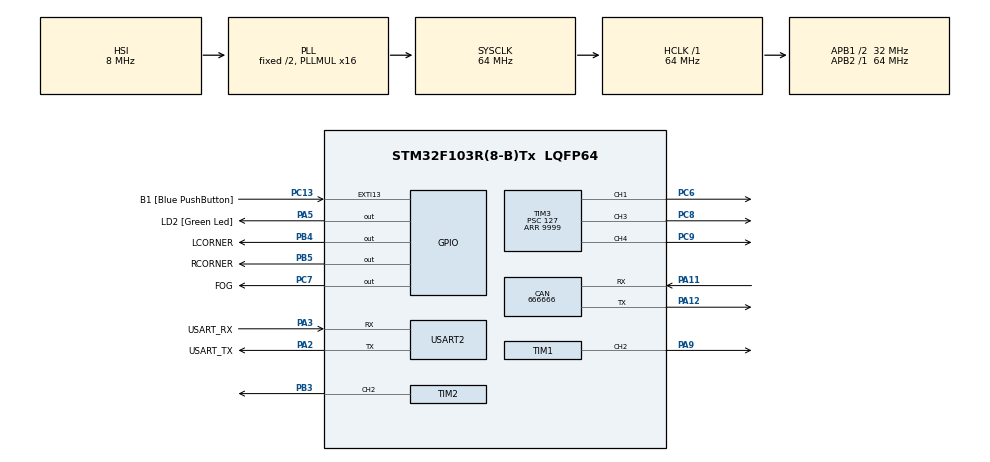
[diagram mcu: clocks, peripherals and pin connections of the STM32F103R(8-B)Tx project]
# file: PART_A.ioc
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CAN.CalculateBaudRate=666666
CAN.CalculateTimeBit=1500
CAN.CalculateTimeQuantum=500.0
Dma.Request0=TIM1_CH2
Dma.Request1=TIM2_CH2/CH4
Dma.Request2=TIM3_CH1/TRIG
Dma.TIM1_CH2.0.Direction=DMA_MEMORY_TO_PERIPH
Dma.TIM1_CH2.0.Instance=DMA1_Channel3
Dma.TIM1_CH2.0.MemDataAlignment=DMA_MDATAALIGN_HALFWORD
Dma.TIM1_CH2.0.MemInc=DMA_MINC_ENABLE
Dma.TIM1_CH2.0.Mode=DMA_NORMAL
Dma.TIM1_CH2.0.PeriphDataAlignment=DMA_PDATAALIGN_HALFWORD
Dma.TIM1_CH2.0.PeriphInc=DMA_PINC_DISABLE
Dma.TIM1_CH2.0.Priority=DMA_PRIORITY_HIGH
Dma.TIM2_CH2/CH4.1.Direction=DMA_MEMORY_TO_PERIPH
Dma.TIM2_CH2/CH4.1.Instance=DMA1_Channel7
Dma.TIM2_CH2/CH4.1.MemDataAlignment=DMA_MDATAALIGN_HALFWORD
Dma.TIM2_CH2/CH4.1.MemInc=DMA_MINC_ENABLE
Dma.TIM2_CH2/CH4.1.Mode=DMA_NORMAL
Dma.TIM2_CH2/CH4.1.PeriphDataAlignment=DMA_PDATAALIGN_HALFWORD
Dma.TIM2_CH2/CH4.1.PeriphInc=DMA_PINC_DISABLE
Dma.TIM2_CH2/CH4.1.Priority=DMA_PRIORITY_HIGH
Dma.TIM3_CH1/TRIG.2.Direction=DMA_MEMORY_TO_PERIPH
Dma.TIM3_CH1/TRIG.2.Instance=DMA1_Channel6
Dma.TIM3_CH1/TRIG.2.MemDataAlignment=DMA_MDATAALIGN_HALFWORD
Dma.TIM3_CH1/TRIG.2.MemInc=DMA_MINC_ENABLE
Dma.TIM3_CH1/TRIG.2.Mode=DMA_NORMAL
Dma.TIM3_CH1/TRIG.2.PeriphDataAlignment=DMA_PDATAALIGN_HALFWORD
Dma.TIM3_CH1/TRIG.2.PeriphInc=DMA_PINC_DISABLE
Dma.TIM3_CH1/TRIG.2.Priority=DMA_PRIORITY_HIGH
Mcu.Family=STM32F1
Mcu.Name=STM32F103R(8-B)Tx
Mcu.Package=LQFP64
NVIC.DMA1_Channel3_IRQn=true\:0\:0\:false\:false\:true\:false\:true\:true
NVIC.DMA1_Channel6_IRQn=true\:0\:0\:false\:false\:true\:false\:true\:true
NVIC.DMA1_Channel7_IRQn=true\:0\:0\:false\:false\:true\:false\:true\:true
NVIC.EXTI15_10_IRQn=true\:0\:0\:false\:false\:true\:true\:true\:true
NVIC.PriorityGroup=NVIC_PRIORITYGROUP_4
NVIC.USB_LP_CAN1_RX0_IRQn=true\:0\:0\:false\:false\:true\:true\:true\:true
PA11.Mode=CAN_Activate
PA11.Signal=CAN_RX
PA12.Mode=CAN_Activate
PA12.Signal=CAN_TX
PA13.GPIO_Label=TMS
PA13.Signal=SYS_JTMS-SWDIO
PA14.GPIO_Label=TCK
PA14.Signal=SYS_JTCK-SWCLK
PA2.GPIO_Label=USART_TX
PA2.GPIO_Mode=GPIO_MODE_AF_PP
PA2.GPIO_PuPd=GPIO_NOPULL
PA2.GPIO_Speed=GPIO_SPEED_FREQ_LOW
PA2.Mode=Asynchronous
PA2.Signal=USART2_TX
PA3.GPIO_Label=USART_RX
PA3.GPIO_Mode=GPIO_MODE_AF_PP
PA3.GPIO_PuPd=GPIO_NOPULL
PA3.GPIO_Speed=GPIO_SPEED_FREQ_LOW
PA3.Mode=Asynchronous
PA3.Signal=USART2_RX
PA5.GPIO_Label=LD2 [Green Led]
PA5.GPIO_ModeDefaultOutputPP=GPIO_MODE_OUTPUT_PP
PA5.GPIO_PuPd=GPIO_NOPULL
PA5.GPIO_Speed=GPIO_SPEED_FREQ_LOW
PA5.Signal=GPIO_Output
PA9.Signal=S_TIM1_CH2
PB3.Signal=S_TIM2_CH2
PB4.GPIO_Label=LCORNER
PB4.Signal=GPIO_Output
PB5.GPIO_Label=RCORNER
PB5.Signal=GPIO_Output
PC13-TAMPER-RTC.GPIO_Label=B1 [Blue PushButton]
PC13-TAMPER-RTC.GPIO_PuPd=GPIO_NOPULL
PC13-TAMPER-RTC.Signal=GPXTI13
PC14-OSC32_IN.Mode=LSE-External-Oscillator
PC14-OSC32_IN.Signal=RCC_OSC32_IN
PC15-OSC32_OUT.Mode=LSE-External-Oscillator
PC15-OSC32_OUT.Signal=RCC_OSC32_OUT
PC6.Signal=S_TIM3_CH1
PC7.GPIO_Label=FOG
PC7.Signal=GPIO_Output
PC8.Signal=S_TIM3_CH3
PC9.Signal=S_TIM3_CH4
PD0-OSC_IN.Mode=HSE-External-Clock-Source
PD0-OSC_IN.Signal=RCC_OSC_IN
PD1-OSC_OUT.Mode=HSE-External-Clock-Source
PD1-OSC_OUT.Signal=RCC_OSC_OUT
ProjectManager.HeapSize=0x200
ProjectManager.StackSize=0x400
ProjectManager.TargetToolchain=STM32CubeIDE
RCC.AHBFreq_Value=64000000
RCC.APB1CLKDivider=RCC_HCLK_DIV2
RCC.APB1Freq_Value=32000000
RCC.APB1TimFreq_Value=64000000
RCC.APB2Freq_Value=64000000
RCC.APB2TimFreq_Value=64000000
RCC.HCLKFreq_Value=64000000
RCC.PLLMUL=RCC_PLL_MUL16
RCC.RTCClockSelection=RCC_RTCCLKSOURCE_LSE
RCC.SYSCLKFreq_VALUE=64000000
RCC.SYSCLKSource=RCC_SYSCLKSOURCE_PLLCLK
RCC.USBFreq_Value=64000000
SH.S_TIM1_CH2.0=TIM1_CH2,PWM Generation2 CH2
SH.S_TIM2_CH2.0=TIM2_CH2,PWM Generation2 CH2
SH.S_TIM3_CH1.0=TIM3_CH1,PWM Generation1 CH1
SH.S_TIM3_CH3.0=TIM3_CH3,PWM Generation3 CH3
SH.S_TIM3_CH4.0=TIM3_CH4,PWM Generation4 CH4
TIM1.Channel-PWM\ Generation2\ CH2=TIM_CHANNEL_2
TIM1.Period=79
TIM2.Channel-PWM\ Generation2\ CH2=TIM_CHANNEL_2
TIM2.Period=79
TIM3.Channel-PWM\ Generation1\ CH1=TIM_CHANNEL_1
TIM3.Channel-PWM\ Generation3\ CH3=TIM_CHANNEL_3
TIM3.Channel-PWM\ Generation4\ CH4=TIM_CHANNEL_4
TIM3.Period=9999
TIM3.Prescaler=127
USART2.VirtualMode=VM_ASYNC
VP_SYS_VS_ND.Mode=No_Debug
board=NUCLEO-F103RB

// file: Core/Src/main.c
/* USER CODE BEGIN Header */
/**
 ******************************************************************************
 * @file           : main.c
 * @brief          : Main program body
 ******************************************************************************
 * @attention
 *
 * Copyright (c) 2024 STMicroelectronics.
 * All rights reserved.
 *
 * This software is licensed under terms that can be found in the LICENSE file
 * in the root directory of this software component.
 * If no LICENSE file comes with this software, it is provided AS-IS.
 *
 ******************************************************************************
 */
/* USER CODE END Header */
#include "main.h"
#include "can.h"
#include "dma.h"
#include "tim.h"
#include "usart.h"
#include "gpio.h"

/* USER CODE BEGIN PTD */
typedef void (*pFunction)(void);

typedef enum {
	FW_UPDATE_IDLE,
	FW_UPDATE_REQUESTED,
	FW_UPDATE_IN_PROGRESS,
	FW_UPDATE_COMPLETE
} FirmwareUpdateStat_t;

/* USER CODE END PTD */

/* USER CODE BEGIN PD */

#define BOOT_FLAG_ADDR BKP->DR1 /* Boot flag address */

#define NUMBER_OF_PAGES_IN_PARTITION 47 /* Number of partition pages */

#define CAN_ID_FILE  0x68c /* receive file data */
#define CAN_ID_META  0x681 /* receive Meta     */
#define CAN_ID_REQ   0x680 /* Request CAN message */
#define CAN_ID_ACK   0x5cb /* ACK */
#define CAN_ID_NACK  0x5cc /* NACK */
#define CAN_ID_LIGHT 0x5c9 /* NACK */

#define CAN_SID_UPDATE    0x680 /* Response CAN message */
#define CAN_SID_VERIFY  	0x15	 /* FW_Verify CAN message */
#define CAN_SID_ROLLBACK	0x16 /* Rollback CAN message */

#define FLASH_SIZE_META             0x400
#define FLASH_SIZE_VEC              0x400
#define FLASH_SIZE_FIRM             (47*1024)

#define FLASH_ADDR_BOOT             0x8000000
#define FLASH_ADDR_FIRM							0x8008000 /*Partition A address */
#define FLASH_ADDR_UPDATE						0x8014000

#define BOOT_FLAG_BOOT 		0x01
#define BOOT_FLAG_FW	 		0x00 /* Partition A activate */
#define BOOT_FLAG_UPDATE 	0x02 /* Partition B activate */

#define BLOCK_SIZE_BYTES 4096    // 4 KB 단위

/* USER CODE END PD */

/* USER CODE BEGIN PV */
CAN_TxHeaderTypeDef TxHeader;
uint32_t TxMailbox;

CAN_TxHeaderTypeDef txHeader;
uint32_t txMailbox;

FirmwareUpdateStat_t fwUpdateState = FW_UPDATE_IDLE;
volatile uint8_t fwUpdateRequested = 0;
volatile uint8_t fwUpdateComplete = 0;
uint32_t fwUpdateReceivedBytes = 0;

typedef struct {
	uint8_t   ecu;
	uint8_t   version;
	uint16_t  size;
    uint32_t  crc;
} fw_meta_t;

uint8_t TxData[8] = { 0x00, };
uint8_t fw_version;
static uint32_t blockReceivedBytes = 0;  // 현재 블록에 기록된 바이트 수

uint8_t lightMode[8];
uint8_t updateMode = 0;
fw_meta_t fw_meta;
fw_meta_t update_meta;

uint32_t currentAddress = FLASH_ADDR_UPDATE + FLASH_SIZE_META;

static const unsigned int crc_table[256] = {
	0x00000000L, 0x77073096L, 0xee0e612cL, 0x990951baL, 0x076dc419L,
	0x706af48fL, 0xe963a535L, 0x9e6495a3L, 0x0edb8832L, 0x79dcb8a4L,
	0xe0d5e91eL, 0x97d2d988L, 0x09b64c2bL, 0x7eb17cbdL, 0xe7b82d07L,
	0x90bf1d91L, 0x1db71064L, 0x6ab020f2L, 0xf3b97148L, 0x84be41deL,
	0x1adad47dL, 0x6ddde4ebL, 0xf4d4b551L, 0x83d385c7L, 0x136c9856L,
	0x646ba8c0L, 0xfd62f97aL, 0x8a65c9ecL, 0x14015c4fL, 0x63066cd9L,
	0xfa0f3d63L, 0x8d080df5L, 0x3b6e20c8L, 0x4c69105eL, 0xd56041e4L,
	0xa2677172L, 0x3c03e4d1L, 0x4b04d447L, 0xd20d85fdL, 0xa50ab56bL,
	0x35b5a8faL, 0x42b2986cL, 0xdbbbc9d6L, 0xacbcf940L, 0x32d86ce3L,
	0x45df5c75L, 0xdcd60dcfL, 0xabd13d59L, 0x26d930acL, 0x51de003aL,
	0xc8d75180L, 0xbfd06116L, 0x21b4f4b5L, 0x56b3c423L, 0xcfba9599L,
	0xb8bda50fL, 0x2802b89eL, 0x5f058808L, 0xc60cd9b2L, 0xb10be924L,
	0x2f6f7c87L, 0x58684c11L, 0xc1611dabL, 0xb6662d3dL, 0x76dc4190L,
	0x01db7106L, 0x98d220bcL, 0xefd5102aL, 0x71b18589L, 0x06b6b51fL,
	0x9fbfe4a5L, 0xe8b8d433L, 0x7807c9a2L, 0x0f00f934L, 0x9609a88eL,
	0xe10e9818L, 0x7f6a0dbbL, 0x086d3d2dL, 0x91646c97L, 0xe6635c01L,
	0x6b6b51f4L, 0x1c6c6162L, 0x856530d8L, 0xf262004eL, 0x6c0695edL,
	0x1b01a57bL, 0x8208f4c1L, 0xf50fc457L, 0x65b0d9c6L, 0x12b7e950L,
	0x8bbeb8eaL, 0xfcb9887cL, 0x62dd1ddfL, 0x15da2d49L, 0x8cd37cf3L,
	0xfbd44c65L, 0x4db26158L, 0x3ab551ceL, 0xa3bc0074L, 0xd4bb30e2L,
	0x4adfa541L, 0x3dd895d7L, 0xa4d1c46dL, 0xd3d6f4fbL, 0x4369e96aL,
	0x346ed9fcL, 0xad678846L, 0xda60b8d0L, 0x44042d73L, 0x33031de5L,
	0xaa0a4c5fL, 0xdd0d7cc9L, 0x5005713cL, 0x270241aaL, 0xbe0b1010L,
	0xc90c2086L, 0x5768b525L, 0x206f85b3L, 0xb966d409L, 0xce61e49fL,
	0x5edef90eL, 0x29d9c998L, 0xb0d09822L, 0xc7d7a8b4L, 0x59b33d17L,
	0x2eb40d81L, 0xb7bd5c3bL, 0xc0ba6cadL, 0xedb88320L, 0x9abfb3b6L,
	0x03b6e20cL, 0x74b1d29aL, 0xead54739L, 0x9dd277afL, 0x04db2615L,
	0x73dc1683L, 0xe3630b12L, 0x94643b84L, 0x0d6d6a3eL, 0x7a6a5aa8L,
	0xe40ecf0bL, 0x9309ff9dL, 0x0a00ae27L, 0x7d079eb1L, 0xf00f9344L,
	0x8708a3d2L, 0x1e01f268L, 0x6906c2feL, 0xf762575dL, 0x806567cbL,
	0x196c3671L, 0x6e6b06e7L, 0xfed41b76L, 0x89d32be0L, 0x10da7a5aL,
	0x67dd4accL, 0xf9b9df6fL, 0x8ebeeff9L, 0x17b7be43L, 0x60b08ed5L,
	0xd6d6a3e8L, 0xa1d1937eL, 0x38d8c2c4L, 0x4fdff252L, 0xd1bb67f1L,
	0xa6bc5767L, 0x3fb506ddL, 0x48b2364bL, 0xd80d2bdaL, 0xaf0a1b4cL,
	0x36034af6L, 0x41047a60L, 0xdf60efc3L, 0xa867df55L, 0x316e8eefL,
	0x4669be79L, 0xcb61b38cL, 0xbc66831aL, 0x256fd2a0L, 0x5268e236L,
	0xcc0c7795L, 0xbb0b4703L, 0x220216b9L, 0x5505262fL, 0xc5ba3bbeL,
	0xb2bd0b28L, 0x2bb45a92L, 0x5cb36a04L, 0xc2d7ffa7L, 0xb5d0cf31L,
	0x2cd99e8bL, 0x5bdeae1dL, 0x9b64c2b0L, 0xec63f226L, 0x756aa39cL,
	0x026d930aL, 0x9c0906a9L, 0xeb0e363fL, 0x72076785L, 0x05005713L,
	0x95bf4a82L, 0xe2b87a14L, 0x7bb12baeL, 0x0cb61b38L, 0x92d28e9bL,
	0xe5d5be0dL, 0x7cdcefb7L, 0x0bdbdf21L, 0x86d3d2d4L, 0xf1d4e242L,
	0x68ddb3f8L, 0x1fda836eL, 0x81be16cdL, 0xf6b9265bL, 0x6fb077e1L,
	0x18b74777L, 0x88085ae6L, 0xff0f6a70L, 0x66063bcaL, 0x11010b5cL,
	0x8f659effL, 0xf862ae69L, 0x616bffd3L, 0x166ccf45L, 0xa00ae278L,
	0xd70dd2eeL, 0x4e048354L, 0x3903b3c2L, 0xa7672661L, 0xd06016f7L,
	0x4969474dL, 0x3e6e77dbL, 0xaed16a4aL, 0xd9d65adcL, 0x40df0b66L,
	0x37d83bf0L, 0xa9bcae53L, 0xdebb9ec5L, 0x47b2cf7fL, 0x30b5ffe9L,
	0xbdbdf21cL, 0xcabac28aL, 0x53b39330L, 0x24b4a3a6L, 0xbad03605L,
	0xcdd70693L, 0x54de5729L, 0x23d967bfL, 0xb3667a2eL, 0xc4614ab8L,
	0x5d681b02L, 0x2a6f2b94L, 0xb40bbe37L, 0xc30c8ea1L, 0x5a05df1bL,
	0x2d02ef8dL
};

/* USER CODE END PV */

void SystemClock_Config(void);

/* USER CODE BEGIN 0 */
void NVIC_Config(void);
/* 펌웨어 업데이트 관련 함수 */
void FirmwareUpdateStateMachine(void);
void StartFirmwareUpdate(void);
void EraseFlashMemory(void);
void SendInactivePartitionAddress(void);

/* 추가: 펌웨어 시작 알림 함수 */
void SendFirmwareStartedMessage(void);

/* 함수 프로토타입 추가 */
void ProcessFirmwareSizeMessage(CAN_RxHeaderTypeDef *rxHeader, uint8_t *rxData);
void LD2Flip(void);
void Error_Handler(void);
/* USER CODE END 0 */

int main(void)
{

  /* MCU Configuration--------------------------------------------------------*/

  /* Reset of all peripherals, Initializes the Flash interface and the Systick. */
  HAL_Init();

  /* Configure the system clock */
  SystemClock_Config();

  /* USER CODE BEGIN SysInit */
	NVIC_Config();

	HAL_PWR_EnableBkUpAccess();
	__HAL_RCC_BKP_CLK_ENABLE();
  /* USER CODE END SysInit */

  /* Initialize all configured peripherals */
  MX_GPIO_Init();
  MX_DMA_Init();
  MX_CAN_Init();
  MX_USART2_UART_Init();
  MX_TIM1_Init();
  MX_TIM2_Init();
  MX_TIM3_Init();
  /* USER CODE BEGIN 2 */

	if (HAL_CAN_Start(&hcan) != HAL_OK) {
		Error_Handler();
	}
	  CAN_FilterTypeDef canFilterConfig;
	  canFilterConfig.FilterActivation = CAN_FILTER_ENABLE;
	  canFilterConfig.FilterBank = 0;
	  canFilterConfig.FilterFIFOAssignment = CAN_FILTER_FIFO0;
	  canFilterConfig.FilterIdHigh = 0x0000;
	  canFilterConfig.FilterIdLow = 0x0000;
	  canFilterConfig.FilterMaskIdHigh = 0x0000;
	  canFilterConfig.FilterMaskIdLow = 0x0000;
	  canFilterConfig.FilterMode = CAN_FILTERMODE_IDMASK;
	  canFilterConfig.FilterScale = CAN_FILTERSCALE_32BIT;
/*
	// Common parts
	CAN_FilterTypeDef filter;
	filter.FilterMode            = CAN_FILTERMODE_IDLIST;     // 리스트 모드
	filter.FilterScale           = CAN_FILTERSCALE_16BIT;     // 16비트 스케일
	filter.FilterFIFOAssignment  = CAN_FILTER_FIFO0;          // FIFO0 할당
	filter.FilterActivation      = CAN_FILTER_ENABLE;         // 활성화

	// Bank0: CAN_ID_FILE, CAN_ID_META
	filter.FilterBank    = 0;
	filter.FilterIdHigh  = (CAN_ID_FILE << 5) & 0xFFE0;  // StdId << 5 (정렬)
	filter.FilterIdLow   = (CAN_ID_META << 5) & 0xFFE0;
	HAL_CAN_ConfigFilter(&hcan, &filter);

	// Bank1: CAN_ID_REQ, CAN_ID_ACK
	filter.FilterBank    = 1;
	filter.FilterIdHigh  = (CAN_ID_REQ << 5)  & 0xFFE0;
	filter.FilterIdLow   = (CAN_ID_ACK << 5)  & 0xFFE0;
	HAL_CAN_ConfigFilter(&hcan, &filter);

	// Bank2: CAN_ID_NACK, CAN_ID_LIGHT
	filter.FilterBank    = 2;
	filter.FilterIdHigh  = (CAN_ID_NACK << 5) & 0xFFE0;
	filter.FilterIdLow   = (CAN_ID_LIGHT << 5)& 0xFFE0;
	HAL_CAN_ConfigFilter(&hcan, &filter);*/

	__HAL_CAN_CLEAR_FLAG(&hcan, CAN_FLAG_FOV1);
	if (HAL_CAN_ConfigFilter(&hcan, &canFilterConfig) != HAL_OK) {
		Error_Handler();
	}

	if (HAL_CAN_ActivateNotification(&hcan, CAN_IT_RX_FIFO0_MSG_PENDING)
			!= HAL_OK) {
		Error_Handler();
	}

    HAL_TIM_PWM_Start(&htim3, TIM_CHANNEL_1);
    HAL_TIM_PWM_Start(&htim3, TIM_CHANNEL_3);
    HAL_TIM_PWM_Start(&htim3, TIM_CHANNEL_4);

	flashInit();

    light_init();
    LCORNER_ON();
    set_lowbeam(120);
  /* USER CODE END 2 */

  /* Infinite loop */
	while (1) {

    /* USER CODE BEGIN 3 */
	  if(change_flag == 1 && !fwUpdateRequested){
		  change_light(lightMode);
		  HAL_Delay(100);
		  change_flag = 0;
	  }
	  else if (fwUpdateRequested)
	  {
		  FirmwareUpdateStateMachine();
	  }
	}
  /* USER CODE END 3 */
}

void SystemClock_Config(void)
{
  RCC_OscInitTypeDef RCC_OscInitStruct = {0};
  RCC_ClkInitTypeDef RCC_ClkInitStruct = {0};

  /** Initializes the RCC Oscillators according to the specified parameters
  * in the RCC_OscInitTypeDef structure.
  */
  RCC_OscInitStruct.OscillatorType = RCC_OSCILLATORTYPE_HSI;
  RCC_OscInitStruct.HSIState = RCC_HSI_ON;
  RCC_OscInitStruct.HSICalibrationValue = RCC_HSICALIBRATION_DEFAULT;
  RCC_OscInitStruct.PLL.PLLState = RCC_PLL_ON;
  RCC_OscInitStruct.PLL.PLLSource = RCC_PLLSOURCE_HSI_DIV2;
  RCC_OscInitStruct.PLL.PLLMUL = RCC_PLL_MUL16;
  if (HAL_RCC_OscConfig(&RCC_OscInitStruct) != HAL_OK)
  {
    Error_Handler();
  }

  /** Initializes the CPU, AHB and APB buses clocks
  */
  RCC_ClkInitStruct.ClockType = RCC_CLOCKTYPE_HCLK|RCC_CLOCKTYPE_SYSCLK
                              |RCC_CLOCKTYPE_PCLK1|RCC_CLOCKTYPE_PCLK2;
  RCC_ClkInitStruct.SYSCLKSource = RCC_SYSCLKSOURCE_PLLCLK;
  RCC_ClkInitStruct.AHBCLKDivider = RCC_SYSCLK_DIV1;
  RCC_ClkInitStruct.APB1CLKDivider = RCC_HCLK_DIV2;
  RCC_ClkInitStruct.APB2CLKDivider = RCC_HCLK_DIV1;

  if (HAL_RCC_ClockConfig(&RCC_ClkInitStruct, FLASH_LATENCY_2) != HAL_OK)
  {
    Error_Handler();
  }
}

/* USER CODE BEGIN 4 */

void NVIC_Config(void) {
	HAL_NVIC_SetPriority(USB_LP_CAN1_RX0_IRQn, 0, 0);
	HAL_NVIC_EnableIRQ(USB_LP_CAN1_RX0_IRQn);
}

void canMsgWrite(uint32_t id, uint8_t dlc, uint8_t *txData) {

	txHeader.StdId = id;
	txHeader.RTR = CAN_RTR_DATA;
	txHeader.IDE = CAN_ID_STD;
	txHeader.DLC = dlc;

	if (HAL_CAN_AddTxMessage(&hcan, &txHeader, txData, &txMailbox) != HAL_OK) {
		Error_Handler();
	}

	while (HAL_CAN_IsTxMessagePending(&hcan, txMailbox)) {

	}
}
void ProcessFirmwareMeta(CAN_RxHeaderTypeDef *rxHeader, uint8_t *rxData) {
	update_meta.ecu = rxData[1];
	update_meta.version = rxData[2];
	update_meta.size = (rxData[4] << 8) | rxData[3];
	fwUpdateState = FW_UPDATE_IN_PROGRESS;

	fw_meta_t *p_meta = (fw_meta_t*) &fw_meta;
	flashRead(FLASH_ADDR_FIRM, (uint8_t*) p_meta, sizeof(fw_meta_t));

	if (update_meta.ecu != p_meta->ecu)						// 내 ecu가 맞는지
	{
		Error_Handler();
	}
	if (update_meta.version <= p_meta->version)		// download할 version이 맞는지
	{
		Error_Handler();
	}

	if (update_meta.size > FLASH_SIZE_FIRM) 	// firmware size over 오류
	{
		Error_Handler();
	}

	uint8_t data = 0x53;
	canMsgWrite(CAN_ID_ACK, 1, &data);

}

void HAL_CAN_RxFifo0MsgPendingCallback(CAN_HandleTypeDef *hcan) {
	CAN_RxHeaderTypeDef rxHeader;
	uint8_t rxData[8];

	if (HAL_CAN_GetRxMessage(hcan, CAN_RX_FIFO0, &rxHeader, rxData) != HAL_OK) {
		Error_Handler();
		return;
	}
	if (rxHeader.StdId == CAN_ID_LIGHT && fwUpdateRequested == 0)
	{
	    change_flag = 1;
	    memcpy(lightMode, rxData, sizeof(uint8_t) * 8);
	}
	else if (rxHeader.StdId == CAN_SID_UPDATE && fwUpdateRequested == 0)
	{
		fwUpdateRequested = 1;
	}
	else if (fwUpdateRequested == 1 && rxHeader.StdId == CAN_ID_META)	// meta 수신한다.
	{
		ProcessFirmwareMeta(&rxHeader, rxData);
	}
	else if (fwUpdateRequested == 1 && rxHeader.StdId == CAN_ID_FILE) {
		MessageBufferPut(&rxHeader, rxData);
	}
}

void EraseFlashMemory(void) {
	HAL_FLASH_Unlock();

	FLASH_EraseInitTypeDef eraseInitStruct;
	uint32_t pageError = 0;

	eraseInitStruct.TypeErase = FLASH_TYPEERASE_PAGES;
	eraseInitStruct.PageAddress = FLASH_ADDR_UPDATE + FLASH_SIZE_META; // 업데이트 fw 시작 주소
	eraseInitStruct.NbPages = NUMBER_OF_PAGES_IN_PARTITION;

	if (HAL_FLASHEx_Erase(&eraseInitStruct, &pageError) != HAL_OK) {
		HAL_FLASH_Lock();
		fwUpdateState = FW_UPDATE_IDLE;
		canMsgWrite(CAN_ID_NACK, 1, TxData);	// update mode no 응답
		NVIC_SystemReset(); 				// 이거는 왜 있는건지 모르겠네
	}

	HAL_FLASH_Lock();
}

void StartFirmwareUpdate(void) {
	// 여기서 이제 원래는 받은 tag 정보를 가지고 인증 후 erase 및
	if (updateMode == 0) {
		fwUpdateReceivedBytes = 0;
		blockReceivedBytes = 0;    // 블록 카운터 초기화

		EraseFlashMemory();
		uint8_t data = 0x52;
		canMsgWrite(CAN_ID_ACK, 1, &data);	// 준비 완료 ack
		updateMode++;
	}

}

uint16_t bootVerifyUpdate(void)
{

  uint32_t crc = 0xFFFFFFFF;
  uint32_t addr = FLASH_ADDR_UPDATE + FLASH_SIZE_META;
  uint32_t remaining = update_meta.size - sizeof(uint32_t);
  uint8_t  buf[128];

  while (remaining)
  {
      uint32_t chunk = remaining > sizeof(buf) ? sizeof(buf) : remaining;
      if (!flashRead(addr, buf, chunk))
          Error_Handler();

      for (uint32_t i = 0; i < chunk; i++)
          crc = (crc >> 8) ^ crc_table[(crc ^ buf[i]) & 0xFF];

      addr      += chunk;
      remaining -= chunk;
  }
  crc ^= 0xFFFFFFFF;

  // 4) 비교
  return (update_meta.crc == crc) ? 0 : 1;
}

void FirmwareUpdateStateMachine(void) {
	switch (fwUpdateState) {
	case FW_UPDATE_IDLE:
		if (fwUpdateRequested) {
			StartFirmwareUpdate();
		}
		break;

	case FW_UPDATE_IN_PROGRESS:
		CAN_RxHeaderTypeDef rxHeader;
		uint16_t totalSize = update_meta.size;

		uint8_t rxData[8];
		uint8_t dataLength = 0;
		// --- 1) 다음 블록 크기 계산 ---
		uint32_t thisBlockSize =
				(totalSize - fwUpdateReceivedBytes >= BLOCK_SIZE_BYTES) ?
						BLOCK_SIZE_BYTES : (totalSize - fwUpdateReceivedBytes);

		if (MessageBufferIsFull()
				|| ((thisBlockSize + fwUpdateReceivedBytes) == totalSize)) {
			while (thisBlockSize > blockReceivedBytes) {

				if (!MessageBufferIsEmpty()) {
					MessageBufferGet(&rxHeader, rxData);

					dataLength = rxHeader.DLC;

					HAL_FLASH_Unlock();

					for (uint8_t i = 0; i < dataLength; i += 2) {
						uint16_t data16 = rxData[i];
						if (i + 1 < dataLength) {
							data16 |= rxData[i + 1] << 8;
						}

						if (HAL_FLASH_Program(FLASH_TYPEPROGRAM_HALFWORD,
								currentAddress, data16) != HAL_OK) // flash write 오류 rollback 처리 해줘야 한다.
								{
							HAL_FLASH_Lock();
							fwUpdateRequested = 0;
							fwUpdateState = FW_UPDATE_IDLE;

							canMsgWrite(CAN_ID_NACK, 1, TxData); // flash wirte 오류 nack
							return;
						}

						currentAddress += (i + 1 < dataLength) ? 2 : 1;
						fwUpdateReceivedBytes += (i + 1 < dataLength) ? 2 : 1;
						blockReceivedBytes += (i + 1 < dataLength) ? 2 : 1;
					}
					HAL_FLASH_Lock();
				}
			}

			if (fwUpdateReceivedBytes == totalSize) {
				// flash 한 곳의 마지막 4바이트를 읽어 update_meta.crc에 대임
				uint8_t data[4];
				flashRead(currentAddress - sizeof(uint32_t), data, sizeof(uint32_t));
				update_meta.crc = (data[0] << 24) | (data[1] << 16)
								| (data[2] << 8) | data[3];
				fwUpdateState = FW_UPDATE_COMPLETE;
			}
			// 다음 블록을 위해 카운터 리셋

			blockReceivedBytes = 0;

			// --- 3) 블록 완성 시 ACK 전송 ---

			MessageBufferFlush();

			uint8_t data = 0x54;
			canMsgWrite(CAN_ID_ACK, 8, &data);

		}
		break;

	case FW_UPDATE_COMPLETE:
		//여기서 crc 체크 후 meta data를 flash한다.
		if(bootVerifyUpdate())
		{
			Error_Handler();
		}
		if(flashErase(FLASH_ADDR_UPDATE, sizeof(fw_meta_t)) != true)
		{
			Error_Handler();
		}
		if(flashWrite(FLASH_ADDR_UPDATE, (uint8_t *)&update_meta, sizeof(fw_meta_t)) != true)
		{
			Error_Handler();
		}

		uint8_t data = 0x55;
		canMsgWrite(CAN_ID_ACK, 8, &data);
		HAL_PWR_EnableBkUpAccess();
		__HAL_RCC_BKP_CLK_ENABLE();
		BOOT_FLAG_ADDR = BOOT_FLAG_UPDATE;
		HAL_Delay(1000);
		NVIC_SystemReset();
		break;

	default:
		fwUpdateState = FW_UPDATE_IDLE;
		break;
	}
}
/* USER CODE END 4 */

void Error_Handler(void)
{
  /* USER CODE BEGIN Error_Handler_Debug */
	/* User can add his own implementation to report the HAL error return state */
	__disable_irq();
	HAL_GPIO_WritePin(GPIOA, LD2_Pin, GPIO_PIN_SET);
	while (1) {
		// 여기서 rollback 해야한다.
		canMsgWrite(CAN_ID_NACK, 1, TxData);	// update mode no 응답
		HAL_PWR_EnableBkUpAccess();
		__HAL_RCC_BKP_CLK_ENABLE();
		BOOT_FLAG_ADDR = BOOT_FLAG_BOOT;
		NVIC_SystemReset(); 				// 이거는 왜 있는건지 모르겠네
	}
  /* USER CODE END Error_Handler_Debug */
}
